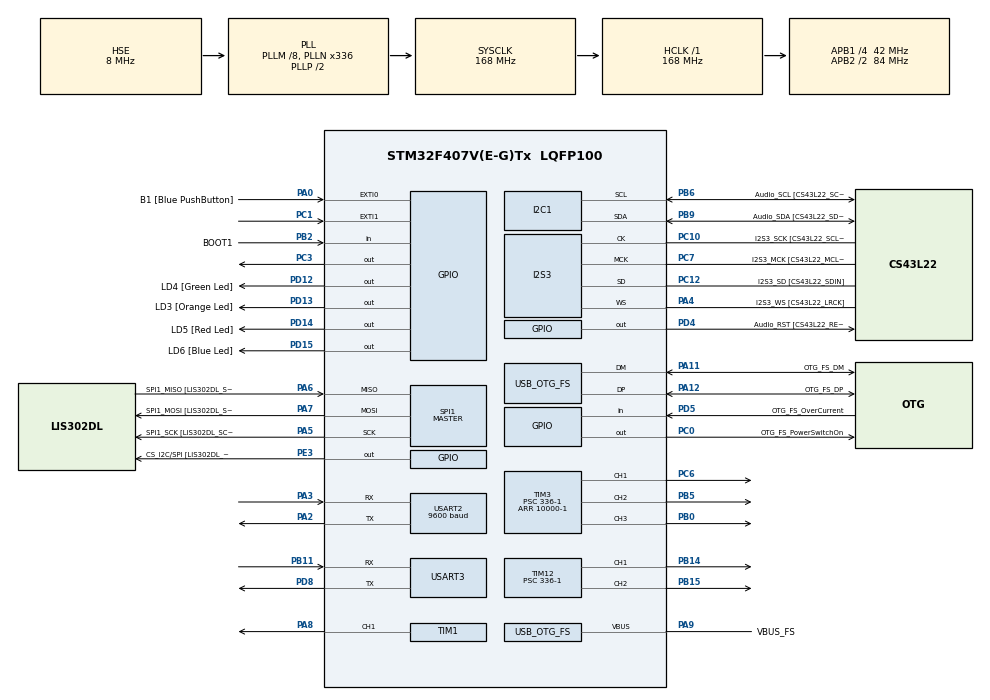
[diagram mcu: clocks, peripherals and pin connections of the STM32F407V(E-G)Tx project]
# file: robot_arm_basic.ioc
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I2S3.AudioFreq-Half_Duplex_Master=I2S_AUDIOFREQ_96K
I2S3.ErrorAudioFreq=-2.34 %
I2S3.ErrorAudioFreq-Half_Duplex_Master=0.8 %
I2S3.FullDuplexMode=I2S_FULLDUPLEXMODE_DISABLE
I2S3.Instance=SPI$Index
I2S3.RealAudioFreq=93.75 KHz
I2S3.RealAudioFreq-Half_Duplex_Master=96.774 KHz
I2S3.VirtualMode=I2S_MODE_MASTER
Mcu.Family=STM32F4
Mcu.Name=STM32F407V(E-G)Tx
Mcu.Package=LQFP100
NVIC.EXTI1_IRQn=true\:0\:0\:false\:true\:true\:1\:true\:true
NVIC.OTG_FS_IRQn=true\:0\:0\:false\:false\:true\:true\:true
NVIC.PriorityGroup=NVIC_PRIORITYGROUP_0
NVIC.USART3_IRQn=true\:0\:0\:false\:true\:true\:2\:true\:true
PA0-WKUP.GPIO_Label=B1 [Blue PushButton]
PA0-WKUP.GPIO_ModeDefaultEXTI=GPIO_MODE_EVT_RISING
PA0-WKUP.GPIO_PuPd=GPIO_NOPULL
PA0-WKUP.Signal=GPXTI0
PA10.GPIO_Label=OTG_FS_ID
PA10.GPIO_Mode=GPIO_MODE_AF_PP
PA10.GPIO_PuPd=GPIO_NOPULL
PA10.GPIO_Speed=GPIO_SPEED_FREQ_LOW
PA10.Signal=USB_OTG_FS_ID
PA11.GPIO_Label=OTG_FS_DM
PA11.GPIO_Mode=GPIO_MODE_AF_PP
PA11.GPIO_PuPd=GPIO_NOPULL
PA11.GPIO_Speed=GPIO_SPEED_FREQ_LOW
PA11.Mode=Host_Only
PA11.Signal=USB_OTG_FS_DM
PA12.GPIO_Label=OTG_FS_DP
PA12.GPIO_Mode=GPIO_MODE_AF_PP
PA12.GPIO_PuPd=GPIO_NOPULL
PA12.GPIO_Speed=GPIO_SPEED_FREQ_LOW
PA12.Mode=Host_Only
PA12.Signal=USB_OTG_FS_DP
PA13.GPIO_Label=SWDIO
PA13.Mode=Serial_Wire
PA13.Signal=SYS_JTMS-SWDIO
PA14.GPIO_Label=SWCLK
PA14.Mode=Serial_Wire
PA14.Signal=SYS_JTCK-SWCLK
PA2.Mode=Asynchronous
PA2.Signal=USART2_TX
PA3.Mode=Asynchronous
PA3.Signal=USART2_RX
PA4.GPIO_Label=I2S3_WS [CS43L22_LRCK]
PA4.GPIO_Mode=GPIO_MODE_AF_PP
PA4.GPIO_PuPd=GPIO_NOPULL
PA4.GPIO_Speed=GPIO_SPEED_FREQ_LOW
PA4.Mode=Half_Duplex_Master
PA4.Signal=I2S3_WS
PA5.GPIO_Label=SPI1_SCK [LIS302DL_SCL/SPC]
PA5.GPIO_Mode=GPIO_MODE_AF_PP
PA5.GPIO_PuPd=GPIO_NOPULL
PA5.GPIO_Speed=GPIO_SPEED_FREQ_LOW
PA5.Mode=Full_Duplex_Master
PA5.Signal=SPI1_SCK
PA6.GPIO_Label=SPI1_MISO [LIS302DL_SDO]
PA6.GPIO_Mode=GPIO_MODE_AF_PP
PA6.GPIO_PuPd=GPIO_NOPULL
PA6.GPIO_Speed=GPIO_SPEED_FREQ_LOW
PA6.Mode=Full_Duplex_Master
PA6.Signal=SPI1_MISO
PA7.GPIO_Label=SPI1_MOSI [LIS302DL_SDA/SDI/SDO]
PA7.GPIO_Mode=GPIO_MODE_AF_PP
PA7.GPIO_PuPd=GPIO_NOPULL
PA7.GPIO_Speed=GPIO_SPEED_FREQ_LOW
PA7.Mode=Full_Duplex_Master
PA7.Signal=SPI1_MOSI
PA8.Signal=S_TIM1_CH1
PA9.GPIO_Label=VBUS_FS
PA9.GPIO_Mode=GPIO_MODE_INPUT
PA9.GPIO_PuPd=GPIO_NOPULL
PA9.Mode=Activate_VBUS
PA9.Signal=USB_OTG_FS_VBUS
PB0.Signal=S_TIM3_CH3
PB10.GPIO_Label=CLK_IN [MP45DT02_CLK]
PB10.GPIO_Mode=GPIO_MODE_AF_PP
PB10.GPIO_PuPd=GPIO_NOPULL
PB10.GPIO_Speed=GPIO_SPEED_FREQ_LOW
PB10.Signal=I2S2_CK
PB11.Mode=Asynchronous
PB11.Signal=USART3_RX
PB14.Signal=S_TIM12_CH1
PB15.Signal=S_TIM12_CH2
PB2.GPIO_Label=BOOT1
PB2.GPIO_Mode=GPIO_MODE_INPUT
PB2.GPIO_PuPd=GPIO_NOPULL
PB2.Signal=GPIO_Input
PB3.GPIO_Label=SWO
PB3.Signal=SYS_JTDO-SWO
PB5.Signal=S_TIM3_CH2
PB6.GPIO_Label=Audio_SCL [CS43L22_SCL]
PB6.GPIO_Mode=GPIO_MODE_AF_OD
PB6.GPIO_PuPd=GPIO_NOPULL
PB6.GPIO_Speed=GPIO_SPEED_FREQ_LOW
PB6.Mode=I2C
PB6.Signal=I2C1_SCL
PB9.GPIO_Label=Audio_SDA [CS43L22_SDA]
PB9.GPIO_Mode=GPIO_MODE_AF_OD
PB9.GPIO_PuPd=GPIO_NOPULL
PB9.GPIO_Speed=GPIO_SPEED_FREQ_LOW
PB9.Mode=I2C
PB9.Signal=I2C1_SDA
PC0.GPIO_Label=OTG_FS_PowerSwitchOn
PC0.GPIO_PuPd=GPIO_NOPULL
PC0.GPIO_Speed=GPIO_SPEED_FREQ_LOW
PC0.PinState=GPIO_PIN_SET
PC0.Signal=GPIO_Output
PC1.GPIO_ModeDefaultEXTI=GPIO_MODE_IT_RISING_FALLING
PC1.Signal=GPXTI1
PC10.GPIO_Label=I2S3_SCK [CS43L22_SCLK]
PC10.GPIO_Mode=GPIO_MODE_AF_PP
PC10.GPIO_PuPd=GPIO_NOPULL
PC10.GPIO_Speed=GPIO_SPEED_FREQ_LOW
PC10.Mode=Half_Duplex_Master
PC10.Signal=I2S3_CK
PC12.GPIO_Label=I2S3_SD [CS43L22_SDIN]
PC12.GPIO_Mode=GPIO_MODE_AF_PP
PC12.GPIO_PuPd=GPIO_NOPULL
PC12.GPIO_Speed=GPIO_SPEED_FREQ_LOW
PC12.Mode=Half_Duplex_Master
PC12.Signal=I2S3_SD
PC14-OSC32_IN.GPIO_Label=PC14-OSC32_IN
PC14-OSC32_IN.Mode=LSE-External-Oscillator
PC14-OSC32_IN.Signal=RCC_OSC32_IN
PC15-OSC32_OUT.GPIO_Label=PC15-OSC32_OUT
PC15-OSC32_OUT.Mode=LSE-External-Oscillator
PC15-OSC32_OUT.Signal=RCC_OSC32_OUT
PC3.Signal=GPIO_Output
PC6.Signal=S_TIM3_CH1
PC7.GPIO_Label=I2S3_MCK [CS43L22_MCLK]
PC7.GPIO_Mode=GPIO_MODE_AF_PP
PC7.GPIO_PuPd=GPIO_NOPULL
PC7.GPIO_Speed=GPIO_SPEED_FREQ_LOW
PC7.Mode=Master_Clock_Activated
PC7.Signal=I2S3_MCK
PD12.GPIO_Label=LD4 [Green Led]
PD12.GPIO_PuPd=GPIO_NOPULL
PD12.GPIO_Speed=GPIO_SPEED_FREQ_LOW
PD12.Signal=GPIO_Output
PD13.GPIO_Label=LD3 [Orange Led]
PD13.GPIO_PuPd=GPIO_NOPULL
PD13.GPIO_Speed=GPIO_SPEED_FREQ_LOW
PD13.Signal=GPIO_Output
PD14.GPIO_Label=LD5 [Red Led]
PD14.GPIO_PuPd=GPIO_NOPULL
PD14.GPIO_Speed=GPIO_SPEED_FREQ_LOW
PD14.Signal=GPIO_Output
PD15.GPIO_Label=LD6 [Blue Led]
PD15.GPIO_PuPd=GPIO_NOPULL
PD15.GPIO_Speed=GPIO_SPEED_FREQ_LOW
PD15.Signal=GPIO_Output
PD4.GPIO_Label=Audio_RST [CS43L22_RESET]
PD4.GPIO_PuPd=GPIO_NOPULL
PD4.GPIO_Speed=GPIO_SPEED_FREQ_LOW
PD4.Signal=GPIO_Output
PD5.GPIO_Label=OTG_FS_OverCurrent
PD5.GPIO_Mode=GPIO_MODE_INPUT
PD5.GPIO_PuPd=GPIO_NOPULL
PD5.Signal=GPIO_Input
PD8.Mode=Asynchronous
PD8.Signal=USART3_TX
PE3.GPIO_Label=CS_I2C/SPI [LIS302DL_CS_I2C/SPI]
PE3.GPIO_PuPd=GPIO_NOPULL
PE3.GPIO_Speed=GPIO_SPEED_FREQ_LOW
PE3.Signal=GPIO_Output
PH0-OSC_IN.GPIO_Label=PH0-OSC_IN
PH0-OSC_IN.Mode=HSE-External-Oscillator
PH0-OSC_IN.Signal=RCC_OSC_IN
PH1-OSC_OUT.GPIO_Label=PH1-OSC_OUT
PH1-OSC_OUT.Mode=HSE-External-Oscillator
PH1-OSC_OUT.Signal=RCC_OSC_OUT
ProjectManager.HeapSize=0x200
ProjectManager.StackSize=0x400
ProjectManager.TargetToolchain=TrueSTUDIO
RCC.48MHZClocksFreq_Value=48000000
RCC.AHBFreq_Value=168000000
RCC.APB1CLKDivider=RCC_HCLK_DIV4
RCC.APB1Freq_Value=42000000
RCC.APB1TimFreq_Value=84000000
RCC.APB2CLKDivider=RCC_HCLK_DIV2
RCC.APB2Freq_Value=84000000
RCC.APB2TimFreq_Value=168000000
RCC.CortexFreq_Value=168000000
RCC.HCLKFreq_Value=168000000
RCC.HSE_VALUE=8000000
RCC.HSI_VALUE=16000000
RCC.PLLM=8
RCC.PLLN=336
RCC.PLLQ=7
RCC.SYSCLKFreq_VALUE=168000000
RCC.SYSCLKSource=RCC_SYSCLKSOURCE_PLLCLK
RCC.VCOOutputFreq_Value=336000000
SH.S_TIM12_CH1.0=TIM12_CH1,PWM Generation1 CH1
SH.S_TIM12_CH2.0=TIM12_CH2,PWM Generation2 CH2
SH.S_TIM1_CH1.0=TIM1_CH1,PWM Generation1 CH1
SH.S_TIM3_CH1.0=TIM3_CH1,PWM Generation1 CH1
SH.S_TIM3_CH2.0=TIM3_CH2,PWM Generation2 CH2
SH.S_TIM3_CH3.0=TIM3_CH3,PWM Generation3 CH3
SPI1.BaudRatePrescaler-Full_Duplex_Master=SPI_BAUDRATEPRESCALER_2
SPI1.CalculateBaudRate-Full_Duplex_Master=42.0 MBits/s
SPI1.Direction=SPI_DIRECTION_2LINES
SPI1.Mode=SPI_MODE_MASTER
SPI1.Mode-Full_Duplex_Master=SPI_MODE_MASTER
SPI1.VirtualType=VM_MASTER
TIM1.Channel-PWM\ Generation1\ CH1=TIM_CHANNEL_1
TIM1.Period=50000-1
TIM1.Prescaler=168-1
TIM1.Pulse-PWM\ Generation1\ CH1=15
TIM12.Channel-PWM\ Generation1\ CH1=TIM_CHANNEL_1
TIM12.Channel-PWM\ Generation2\ CH2=TIM_CHANNEL_2
TIM12.Period=10000-1
TIM12.Prescaler=336-1
TIM12.Pulse-PWM\ Generation1\ CH1=350
TIM12.Pulse-PWM\ Generation2\ CH2=620
TIM3.Channel-PWM\ Generation1\ CH1=TIM_CHANNEL_1
TIM3.Channel-PWM\ Generation2\ CH2=TIM_CHANNEL_2
TIM3.Channel-PWM\ Generation3\ CH3=TIM_CHANNEL_3
TIM3.Period=10000-1
TIM3.Prescaler=336-1
TIM3.Pulse-PWM\ Generation1\ CH1=620
TIM3.Pulse-PWM\ Generation2\ CH2=120
TIM3.Pulse-PWM\ Generation3\ CH3=420
USART2.BaudRate=9600
USART2.VirtualMode=VM_ASYNC
USART3.VirtualMode=VM_ASYNC
USB_HOST.BSP.number=1
USB_HOST.USBH_HandleTypeDef-CDC_FS=hUsbHostFS
USB_HOST.VirtualModeFS=Cdc
USB_HOST0.BSP.STBoard=false
USB_HOST0.BSP.api=Unknown
USB_HOST0.BSP.i2caddr=0
USB_HOST0.BSP.i2creg=0
USB_HOST0.BSP.instance=PC0
USB_HOST0.BSP.ip=GPIO
USB_HOST0.BSP.mode=Output
USB_HOST0.BSP.name=Drive_VBUS_FS
USB_HOST0.BSP.solution=PC0
USB_OTG_FS.VirtualMode=Host_Only
USB_OTG_FS.phy_itface=HCD_PHY_EMBEDDED
VP_TIM12_VS_ClockSourceINT.Mode=Internal
VP_TIM1_VS_ClockSourceINT.Mode=Internal
VP_TIM3_VS_ClockSourceINT.Mode=Internal
VP_USB_HOST_VS_USB_HOST_CDC_FS.Mode=CDC_FS
board=STM32F407G-DISC1

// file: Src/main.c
/* USER CODE BEGIN Header */
/**
  ******************************************************************************
  * @file           : main.c
  * @brief          : Main program body
  ******************************************************************************
  * @attention
  *
  * <h2><center>&copy; Copyright (c) 2020 STMicroelectronics.
  * All rights reserved.</center></h2>
  *
  * This software component is licensed by ST under Ultimate Liberty license
  * SLA0044, the "License"; You may not use this file except in compliance with
  * the License. You may obtain a copy of the License at:
  *                             www.st.com/SLA0044
  *
  ******************************************************************************
  */
/* USER CODE END Header */

#include "main.h"
#include "i2c.h"
#include "i2s.h"
#include "spi.h"
#include "tim.h"
#include "usart.h"
#include "usb_host.h"
#include "gpio.h"

/* USER CODE BEGIN Includes */
#include <stdbool.h>
/* USER CODE END Includes */

/* USER CODE BEGIN PV */
bool distance_flag = false;
int grab_mode = 0;

uint8_t rx3_data = 0;

uint8_t tmp_stop = 1;
uint8_t tmp_speed1 = 2;
uint8_t tmp_speed2 = 3;
int MOTOR_PWM[5];
int MOTOR_PWM_MEAN[5];
int MOTOR_PWM_MAX[5];
int MOTOR_PWM_MIN[5];
int mode[5]={1,1,1,1,1};
char direction;
char response;

volatile uint32_t distance;
#define Delay_ms     HAL_Delay
#define millis()     HAL_GetTick()
#define SYS_CLOCK    168
#define SYSTICK_LOAD 167999
__IO uint32_t uwTick=0;
extern __IO uint32_t uwTick;
/* USER CODE END PV */

void SystemClock_Config(void);
static void MX_NVIC_Init(void);
void MX_USB_HOST_Process(void);

/* USER CODE BEGIN 0 */
uint32_t micros() {
  return (uwTick&0x3FFFFF)*1000 + (SYSTICK_LOAD-SysTick->VAL)/SYS_CLOCK;
}

void Delay_us(uint32_t us) {
  uint32_t temp = micros();
  uint32_t comp = temp + us;
  uint8_t  flag = 0;
  while(comp > temp){
    if(((uwTick&0x3FFFFF)==0)&&(flag==0)){
      flag = 1;
    }
    if(flag) temp = micros() + 0x400000UL * 1000;
    else     temp = micros();
  }
}

void HAL_GPIO_EXTI_Callback(uint16_t GPIO_Pin) //External interrupt for Sonar
{
	static uint32_t ss=0;
	uint32_t temp = GPIOC->IDR & 0x0002;//PC1�̴ϱ� 2^(1)=2
	switch (temp) {
	  case 0x0002:
		 ss = micros();
		 break;

	  case 0x0000 :
		 distance = (micros() - ss) / 58;
		 if(distance <= 3){
			 distance_flag = true;
		 }
		 break;
	}
}

/* USER CODE END 0 */

int main(void)
{

  /* MCU Configuration--------------------------------------------------------*/

  /* Reset of all peripherals, Initializes the Flash interface and the Systick. */
  HAL_Init();

  /* Configure the system clock */
  SystemClock_Config();

  /* Initialize all configured peripherals */
  MX_GPIO_Init();
  MX_I2C1_Init();
  MX_I2S3_Init();
  MX_SPI1_Init();
  MX_TIM3_Init();
  MX_TIM12_Init();
  MX_USB_HOST_Init();
  MX_TIM1_Init();
  MX_USART2_UART_Init();
  MX_USART3_UART_Init();

  /* Initialize interrupts */
  MX_NVIC_Init();
  /* USER CODE BEGIN 2 */

  //raspberryPi to robotArm
  HAL_UART_Receive_IT(&huart3,&rx3_data,1);

  //Robot Arm
  HAL_TIM_PWM_Start(&htim3,TIM_CHANNEL_1);
  HAL_TIM_PWM_Start(&htim3,TIM_CHANNEL_2);
  HAL_TIM_PWM_Start(&htim3,TIM_CHANNEL_3);
  HAL_TIM_PWM_Start(&htim12,TIM_CHANNEL_1);
  HAL_TIM_PWM_Start(&htim12,TIM_CHANNEL_2);

  //SONAR
  HAL_TIM_PWM_Start(&htim1,TIM_CHANNEL_1);

  /* USER CODE END 2 */

  /* Infinite loop */
  /* USER CODE BEGIN WHILE */

  while (1)
  {

	  TIM3->CCR3=360; // 1 top
	  TIM12->CCR1=150;//2
	  TIM12->CCR2=200; // 3
	  TIM3->CCR2= 400; //4
	  TIM3->CCR1 = 500; // 5

	  if(rx3_data == 1){
		  HAL_UART_Transmit(&huart2, &tmp_stop, 1, 100);

	  }
	  else if(rx3_data == 2){
		  HAL_UART_Transmit(&huart2, &tmp_speed1, 1, 100);
	  }
	  else if(rx3_data == 3){
	  		  HAL_UART_Transmit(&huart2, &tmp_speed2, 1, 100);
	  	  }
	  else if(rx3_data == 4){
		TIM12->CCR1=250; // 2
		HAL_Delay(2000);

		TIM3->CCR3=360; // 1 top
		TIM12->CCR2=200; // 3
		TIM3->CCR2= 400; //4
		TIM3->CCR1 = 500; // 5
	  }
	  if(distance_flag){
		  TIM3->CCR3=450;
		  HAL_Delay(1000);
	  }

	  distance_flag = false;
	  rx3_data = 0;

    /* USER CODE END WHILE */
    MX_USB_HOST_Process();

  }
}

void SystemClock_Config(void)
{
  RCC_OscInitTypeDef RCC_OscInitStruct = {0};
  RCC_ClkInitTypeDef RCC_ClkInitStruct = {0};
  RCC_PeriphCLKInitTypeDef PeriphClkInitStruct = {0};

  /** Configure the main internal regulator output voltage
  */
  __HAL_RCC_PWR_CLK_ENABLE();
  __HAL_PWR_VOLTAGESCALING_CONFIG(PWR_REGULATOR_VOLTAGE_SCALE1);
  /** Initializes the CPU, AHB and APB busses clocks
  */
  RCC_OscInitStruct.OscillatorType = RCC_OSCILLATORTYPE_HSE;
  RCC_OscInitStruct.HSEState = RCC_HSE_ON;
  RCC_OscInitStruct.PLL.PLLState = RCC_PLL_ON;
  RCC_OscInitStruct.PLL.PLLSource = RCC_PLLSOURCE_HSE;
  RCC_OscInitStruct.PLL.PLLM = 8;
  RCC_OscInitStruct.PLL.PLLN = 336;
  RCC_OscInitStruct.PLL.PLLP = RCC_PLLP_DIV2;
  RCC_OscInitStruct.PLL.PLLQ = 7;
  if (HAL_RCC_OscConfig(&RCC_OscInitStruct) != HAL_OK)
  {
    Error_Handler();
  }
  /** Initializes the CPU, AHB and APB busses clocks
  */
  RCC_ClkInitStruct.ClockType = RCC_CLOCKTYPE_HCLK|RCC_CLOCKTYPE_SYSCLK
                              |RCC_CLOCKTYPE_PCLK1|RCC_CLOCKTYPE_PCLK2;
  RCC_ClkInitStruct.SYSCLKSource = RCC_SYSCLKSOURCE_PLLCLK;
  RCC_ClkInitStruct.AHBCLKDivider = RCC_SYSCLK_DIV1;
  RCC_ClkInitStruct.APB1CLKDivider = RCC_HCLK_DIV4;
  RCC_ClkInitStruct.APB2CLKDivider = RCC_HCLK_DIV2;

  if (HAL_RCC_ClockConfig(&RCC_ClkInitStruct, FLASH_LATENCY_5) != HAL_OK)
  {
    Error_Handler();
  }
  PeriphClkInitStruct.PeriphClockSelection = RCC_PERIPHCLK_I2S;
  PeriphClkInitStruct.PLLI2S.PLLI2SN = 192;
  PeriphClkInitStruct.PLLI2S.PLLI2SR = 2;
  if (HAL_RCCEx_PeriphCLKConfig(&PeriphClkInitStruct) != HAL_OK)
  {
    Error_Handler();
  }
}

/**
  * @brief NVIC Configuration.
  * @retval None
  */
static void MX_NVIC_Init(void)
{
  /* EXTI1_IRQn interrupt configuration */
  HAL_NVIC_SetPriority(EXTI1_IRQn, 0, 0);
  HAL_NVIC_EnableIRQ(EXTI1_IRQn);
  /* USART3_IRQn interrupt configuration */
  HAL_NVIC_SetPriority(USART3_IRQn, 0, 0);
  HAL_NVIC_EnableIRQ(USART3_IRQn);
}

/* USER CODE BEGIN 4 */
void HAL_UART_RxCpltCallback(UART_HandleTypeDef *huart)
{
  if(huart->Instance==USART3){
	  HAL_UART_Receive_IT(&huart3,&rx3_data,1);
  }
}
/* USER CODE END 4 */

void Error_Handler(void)
{
}

/************************ (C) COPYRIGHT STMicroelectronics *****END OF FILE****/
